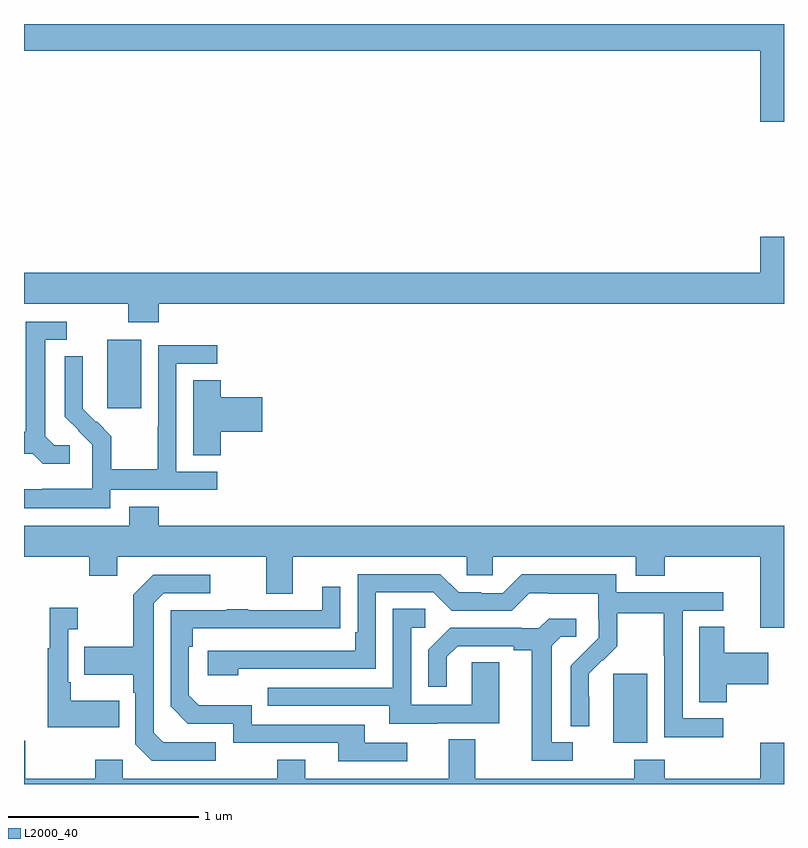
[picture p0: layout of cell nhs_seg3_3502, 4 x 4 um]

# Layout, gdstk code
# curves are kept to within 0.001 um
import gdstk
lib = gdstk.Library(unit=1e-6, precision=1e-09)
def R(c, l, rs):  # rectangles x0, y0, x1, y1
    for r in rs: c.add(gdstk.rectangle(r[:2], r[2:], *l))
def P(c, l, *ps):  # polygons
    for p in ps: c.add(gdstk.Polygon(p, *l))
L2000_40 = (2000, 40)

nhs_seg3_3502 = lib.new_cell('nhs_seg3_3502')
R(nhs_seg3_3502, L2000_40, [(296.102,686.618,296.281,686.979), (293.438,688.377,293.617,688.738)])
P(nhs_seg3_3502, L2000_40, [(297,690.4),(293,690.4),(293,690.26),(296.876,690.26),(296.876,689.886),(297,689.886)],
  [(293.708,688.928),(297,688.928),(297,689.281),(296.876,689.281),(296.876,689.092),(293,689.092),(293,688.928),(293.548,688.928),(293.548,688.829),(293.708,688.829)],
  [(293.242,688.182),(293.16,688.182),(293.113,688.229),(293.113,688.737),(293.224,688.737),(293.224,688.833),(293.009,688.833),(293.009,688.253),(293,688.253),(293,688.137),(293.046,688.137),(293.098,688.085),(293.242,688.085)],
  [(293.454,687.948),(294.016,687.948),(294.016,688.044),(293.802,688.044),(293.802,688.611),(294.016,688.611),(294.016,688.71),(293.706,688.71),(293.706,688.28),(293.704,688.28),(293.704,688.057),(293.459,688.057),(293.459,688.231),(293.382,688.308),(293.379,688.305),(293.309,688.376),(293.31,688.652),(293.214,688.652),(293.214,688.334),(293.36,688.186),(293.36,688.089),(293.358,688.089),(293.358,687.955),(293.095,687.955),(293.095,687.951),(293,687.951),(293,687.851),(293.454,687.851)],
  [(294.035,688.253),(294.253,688.253),(294.253,688.436),(294.035,688.436),(294.035,688.526),(293.891,688.526),(293.891,688.129),(294.035,688.129)],
  [(297,687.76),(293.708,687.76),(293.708,687.859),(293.555,687.859),(293.555,687.76),(293,687.76),(293,687.596),(293.344,687.596),(293.344,687.497),(293.491,687.497),(293.491,687.596),(294.275,687.596),(294.275,687.402),(294.415,687.402),(294.415,687.596),(295.329,687.596),(295.329,687.498),(295.467,687.498),(295.467,687.596),(296.219,687.596),(296.219,687.497),(296.372,687.497),(296.372,687.596),(296.876,687.596),(296.876,687.222),(297,687.222)],
  [(296.68,686.745),(296.466,686.745),(296.466,687.312),(296.68,687.312),(296.68,687.408),(296.118,687.408),(296.118,687.505),(295.621,687.505),(295.521,687.405),(295.406,687.405),(295.406,687.408),(295.287,687.408),(295.191,687.504),(294.756,687.504),(294.756,687.199),(294.743,687.199),(294.743,687.102),(293.967,687.102),(293.967,686.972),(294.128,686.972),(294.128,687.006),(294.852,687.006),(294.852,687.408),(295.155,687.408),(295.251,687.312),(295.566,687.312),(295.659,687.405),(295.759,687.405),(295.759,687.401),(296.022,687.401),(296.022,687.267),(296.024,687.267),(296.024,687.17),(295.878,687.022),(295.878,686.704),(295.974,686.704),(295.973,686.981),(296.043,687.051),(296.046,687.048),(296.123,687.125),(296.123,687.3),(296.368,687.3),(296.368,687.076),(296.37,687.076),(296.37,686.647),(296.68,686.647)],
  [(294.01,686.619),(293.733,686.619),(293.682,686.67),(293.682,687.351),(293.736,687.405),(293.98,687.405),(293.98,687.501),(293.679,687.501),(293.574,687.395),(293.574,687.123),(293.317,687.123),(293.317,686.975),(293.574,686.975),(293.574,686.879),(293.586,686.879),(293.586,686.61),(293.673,686.523),(294.01,686.523)],
  [(295.018,686.616),(294.793,686.616),(294.793,686.712),(294.198,686.712),(294.198,686.815),(293.921,686.815),(293.868,686.868),(293.868,687.122),(293.888,687.122),(293.888,687.219),(294.665,687.22),(294.665,687.439),(294.569,687.439),(294.569,687.315),(294.179,687.315),(294.179,687.32),(294.067,687.32),(294.067,687.315),(293.772,687.315),(293.772,686.808),(293.862,686.718),(294.102,686.718),(294.102,686.616),(294.653,686.616),(294.653,686.52),(295.018,686.52)],
  [(293.501,686.839),(293.245,686.839),(293.245,686.935),(293.232,686.935),(293.232,687.215),(293.284,687.215),(293.284,687.328),(293.135,687.328),(293.135,687.115),(293.124,687.115),(293.124,686.699),(293.501,686.699)],
  [(295.177,686.721),(295.501,686.721),(295.501,687.041),(295.356,687.041),(295.356,686.817),(295.038,686.817),(295.038,687.222),(295.111,687.222),(295.111,687.323),(294.942,687.323),(294.942,686.907),(294.283,686.907),(294.283,686.811),(294.923,686.811),(294.923,686.717),(295.177,686.717)],
  [(295.888,686.619),(295.777,686.619),(295.777,687.127),(295.824,687.174),(295.906,687.174),(295.906,687.271),(295.762,687.271),(295.71,687.219),(295.616,687.219),(295.616,687.222),(295.244,687.222),(295.128,687.106),(295.128,686.913),(295.225,686.913),(295.225,687.069),(295.282,687.126),(295.577,687.126),(295.577,687.104),(295.673,687.104),(295.673,686.523),(295.888,686.523)],
  [(296.699,686.926),(296.917,686.926),(296.917,687.091),(296.686,687.091),(296.686,687.227),(296.555,687.227),(296.555,686.83),(296.699,686.83)],
  [(297,686.617),(296.876,686.617),(296.876,686.428),(296.372,686.428),(296.372,686.527),(296.212,686.527),(296.212,686.428),(295.375,686.428),(295.375,686.636),(295.235,686.636),(295.235,686.428),(294.481,686.428),(294.481,686.527),(294.334,686.527),(294.334,686.428),(293.52,686.428),(293.52,686.527),(293.374,686.527),(293.374,686.428),(293.007,686.428),(293.007,686.627),(293,686.627),(293,686.4),(297,686.4)])

lib.write_gds('nhs_seg3_3502.gds')
